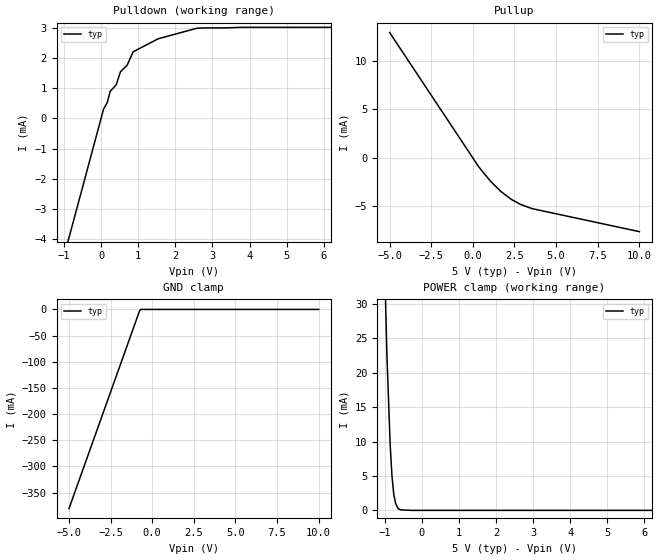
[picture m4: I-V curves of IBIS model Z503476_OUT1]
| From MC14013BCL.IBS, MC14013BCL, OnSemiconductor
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| (C) COPYRIGHT 1993-2000
| MENTOR GRAPHICS CORPORATION
| ICX STANDARD LIBRARY, ICX PROJECT MODELING,
| ICX CUSTOM MODELING, ICX VENDOR MODEL
| ALL RIGHTS RESERVED.
| THE FOLLOWING ARE TRADEMARKS OR SERVICE MARKS OF
| MENTOR GRAPHICS CORPORATION:ICX (R), ICX STANDARD
| LIBRARY(R), ICX PROJECT MODELING(R), ICX CUSTOM
| MODELING(R), qualityIBIS(TM), MODELVIEWER(TM),
| AND MODELEDITOR(TM)
| ALL COPIES OF SOFTWARE, INCLUDING BUT NOT LIMITED TO
| ANY MODIFICATIONS, ENHANCEMENTS OR DERIVATIVE WORKS,
| MUST CONTAIN ALL MENTOR GRAPHICS CORPORATION'S
| NOTICES AND LEGENDS, INCLUDING THOSE EMBEDDED IN
| SOFTWARE AND THOSE AFFIXED TO SOFTWARE MEDIUM
| AND CONTAINER, AS RECEIVED FROM MENTOR GRAPHICS
| CORPORATION.
| Model Application Version 1.89 2/18/99.
[Model] Z503476_OUT1
Model_type Output
Vref=0.000V
Rref=500.0Mohms
Cref=50.00pF
Vmeas=2.500V
C_comp 8.000pF NA NA
| variable typ   min   max
[Voltage Range] 5.000V NA NA
[POWER Clamp Reference] 5.000V NA NA
[Pullup Reference] 5.000V NA NA
[Pulldown Reference] 0.000V NA NA
[GND Clamp Reference] 0.000V NA NA
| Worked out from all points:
|   slope of the pulldown table from 0 to 0.75 V, typ, clamps not added: 397 ohm
|   slope of the pullup table from 0 to 0.75 V, typ, clamps not added: 430 ohm
|   GND clamp passes 1 mA (typ) near -0.72 V on its own axis
|   POWER clamp passes 1 mA (typ) near -0.70 V on its own axis
[GND Clamp]
-5V       -380.6mA   NA         NA
-780.9mV  -4.418mA   NA         NA
-726.8mV  -1.114mA   NA         NA
-660.7mV  0A         NA         NA
10V       0A         NA         NA
[Pulldown]
-5V       -22.8mA    NA         NA
68.17mV   312uA      NA         NA
168.3mV   527.1uA    NA         NA
245.8mV   894.4uA    NA         NA
407mV     1.109mA    NA         NA
523.9mV   1.544mA    NA         NA
703.3mV   1.76mA     NA         NA
863.6mV   2.201mA    NA         NA
1.54V     2.632mA    NA         NA
2.578V    2.978mA    NA         NA
2.739V    2.99mA     NA         NA
10V       3.01mA     NA         NA
[Pullup]
-5V       12.89mA    NA         NA
356mV     -945.5uA   NA         NA
1.075V    -2.451mA   NA         NA
1.684V    -3.475mA   NA         NA
2.313V    -4.291mA   NA         NA
2.869V    -4.812mA   NA         NA
3.541V    -5.235mA   NA         NA
10V       -7.611mA   NA         NA
[POWER Clamp]
-5V       905mA      NA         NA
-938mV    22.69mA    NA         NA
-850mV    9.641mA    NA         NA
-801mV    5.037mA    NA         NA
-752mV    2.316mA    NA         NA
-703mV    1.014mA    NA         NA
-635mV    259.1uA    NA         NA
-561mV    69.17uA    NA         NA
-280.5mV  0A         NA         NA
10V       0A         NA         NA
[Ramp]
| variable typ min max
dV/dt_r 2.567/11.31n NA NA
dV/dt_f 2.567/10.76n NA NA
R_load = 2.500kOhms
